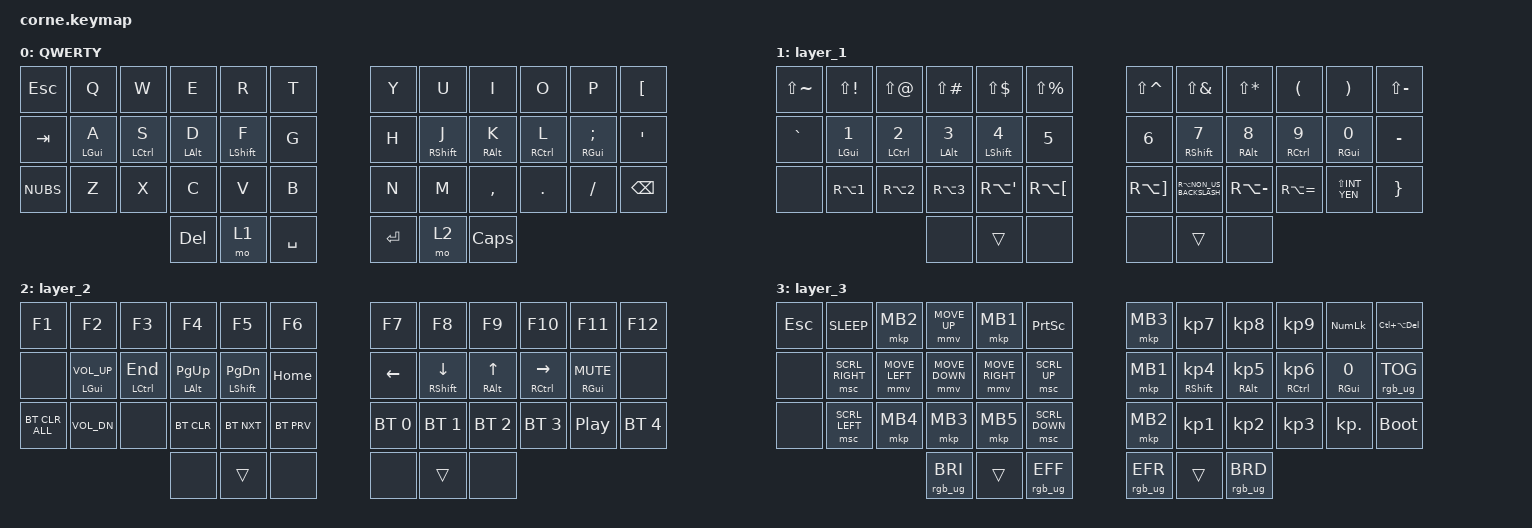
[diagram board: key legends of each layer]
/*
 * Copyright (c) 2020 The ZMK Contributors
 *
 * SPDX-License-Identifier: MIT
 */

#define ZMK_POINTING_DEFAULT_MOVE_VAL 1200  // 600
#define ZMK_POINTING_DEFAULT_SCRL_VAL 25   // 10

#include <input/processors.dtsi>
#include <zephyr/dt-bindings/input/input-event-codes.h>
#include <behaviors.dtsi>
#include <dt-bindings/zmk/bt.h>
#include <dt-bindings/zmk/keys.h>
#include <dt-bindings/zmk/pointing.h>
#include <dt-bindings/zmk/rgb.h>

&mmv_input_listener { input-processors = <&zip_xy_scaler 2 1>; };

&msc_input_listener { input-processors = <&zip_scroll_scaler 2 1>; };

&mt {
    tapping-term-ms = <220>;
    quick-tap-ms = <220>;
    flavor = "tap-preferred";
    hold-trigger-key-positions = <13 14 15 16 19 20 21 22>;
    hold-trigger-on-release;
    require-prior-idle-ms = <150>;
};

&mmv {
    trigger-period-ms = <16>;
    time-to-max-speed-ms = <500>;
    acceleration-exponent = <1>;
};

/ {
    chosen {
        zmk,matrix_transform = &default_transform;

        // zmk,matrix_transform = &five_column_transform;
    };
};

/ {
    keymap {
        compatible = "zmk,keymap";

        default_layer {
            display-name = "QWERTY";
            bindings = <
&kp ESCAPE  &kp Q       &kp W        &kp E       &kp R         &kp T        &kp Y      &kp U        &kp I       &kp O        &kp P          &kp LEFT_BRACKET
&kp TAB     &mt LGUI A  &mt LCTRL S  &mt LALT D  &mt LSHIFT F  &kp G        &kp H      &mt RSHFT J  &mt RALT K  &mt RCTRL L  &mt RGUI SEMI  &kp SQT
&kp NUBS    &kp Z       &kp X        &kp C       &kp V         &kp B        &kp N      &kp M        &kp COMMA   &kp DOT      &kp FSLH       &kp BACKSPACE
                                     &kp DELETE  &mo 1         &kp SPACE    &kp ENTER  &mo 2        &kp CAPS
            >;
        };

        layer_1 {
            bindings = <
&kp LS(TILDE)  &kp LS(EXCL)      &kp LS(AT)        &kp LS(POUND)     &kp LS(DLLR)  &kp LS(PRCNT)           &kp LS(CARET)  &kp LS(AMPS)              &kp LS(STAR)   &kp LPAR       &kp RPAR         &kp LS(MINUS)
&kp GRAVE      &mt LGUI N1       &mt LCTRL N2      &mt LALT N3       &mt LSHFT N4  &kp N5                  &kp N6         &mt RSHIFT N7             &mt RALT N8    &mt RCTRL N9   &mt RGUI N0      &kp MINUS
&none          &kp RA(NUMBER_1)  &kp RA(NUMBER_2)  &kp RA(NUMBER_3)  &kp RA(SQT)   &kp RA(LEFT_BRACKET)    &kp RA(RBKT)   &kp RA(NON_US_BACKSLASH)  &kp RA(MINUS)  &kp RA(EQUAL)  &kp LS(INT_YEN)  &kp RBRC
                                                   &none             &trans        &none                   &none          &trans                    &none
            >;
        };

        layer_2 {
            bindings = <
&kp F1          &kp F2             &kp F3         &kp F4            &kp F5                &kp F6        &kp F7        &kp F8           &kp F9        &kp F10          &kp F11           &kp F12
&none           &mt LGUI C_VOL_UP  &mt LCTRL END  &mt LALT PAGE_UP  &mt LSHIFT PAGE_DOWN  &kp HOME      &kp LEFT      &mt RSHIFT DOWN  &mt RALT UP   &mt RCTRL RIGHT  &mt RGUI C_MUTE   &none
&bt BT_CLR_ALL  &kp C_VOL_DN       &none          &bt BT_CLR        &bt BT_NXT            &bt BT_PRV    &bt BT_SEL 0  &bt BT_SEL 1     &bt BT_SEL 2  &bt BT_SEL 3     &kp C_PLAY_PAUSE  &bt BT_SEL 4
                                                  &none             &trans                &none         &none         &trans           &none
            >;
        };

        layer_3 {
            bindings = <
&kp ESC  &kp K_SLEEP      &mkp MB2        &mmv MOVE_UP     &mkp MB1         &kp PRINTSCREEN    &mkp MB3         &kp KP_N7         &kp KP_N8        &kp KP_N9        &kp KP_NUMLOCK  &kp LC(LA(DELETE))
&none    &msc SCRL_RIGHT  &mmv MOVE_LEFT  &mmv MOVE_DOWN   &mmv MOVE_RIGHT  &msc SCRL_UP       &mkp MB1         &mt RSHIFT KP_N4  &mt RALT KP_N5   &mt RCTRL KP_N6  &mt RGUI N0     &rgb_ug RGB_TOG
&none    &msc SCRL_LEFT   &mkp MB4        &mkp MB3         &mkp MB5         &msc SCRL_DOWN     &mkp MB2         &kp KP_N1         &kp KP_N2        &kp KP_N3        &kp KP_DOT      &bootloader
                                          &rgb_ug RGB_BRI  &trans           &rgb_ug RGB_EFF    &rgb_ug RGB_EFR  &trans            &rgb_ug RGB_BRD
            >;
        };
    };

    conditional_layers {
        compatible = "zmk,conditional-layers";

        mouse {
            if-layers = <1 2>;
            then-layer = <3>;
        };
    };
};
